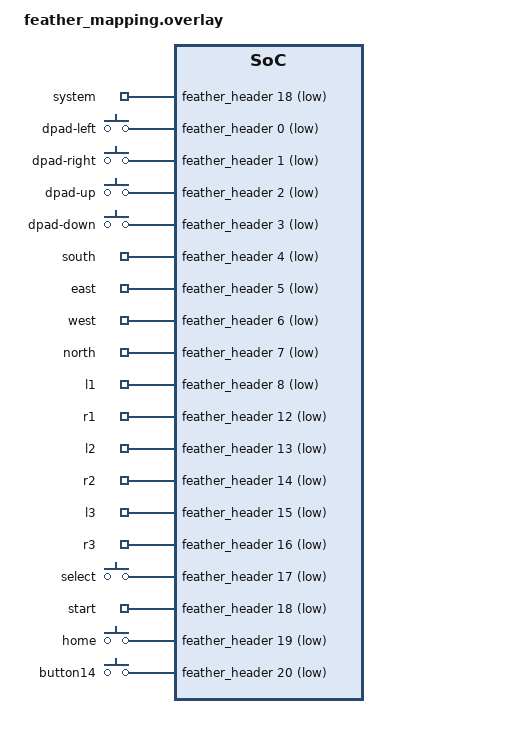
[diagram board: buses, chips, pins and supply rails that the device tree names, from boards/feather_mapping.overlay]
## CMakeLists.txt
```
cmake_minimum_required(VERSION 3.20.0)

find_package(Zephyr REQUIRED HINTS $ENV{ZEPHYR_BASE})
project(pgf)

target_sources(app PRIVATE
    src/battery.c
    src/main.c
)

if (CONFIG_PGF_BATTERY_LEVEL_REPORTING_VBATT)
    target_sources(app PRIVATE src/battery_vbatt.c)
elseif (CONFIG_PGF_BATTERY_LEVEL_REPORTING_PMIC)
    target_sources(app PRIVATE src/battery_pmic.c)
else()
    target_sources(app PRIVATE src/battery_null.c)
endif()

if (CONFIG_ADC)
    target_sources(app PRIVATE src/analog_axes.c)
endif()

if ("${CONFIG_BUILD_OUTPUT_UF2_FAMILY_ID}" STREQUAL "0xada52840")
    target_sources(app PRIVATE src/bootloader_nrf52840.c)
endif()

if (CONFIG_BT_HIDS)
    target_sources(app PRIVATE src/hids_ncs.c)
elseif (CONFIG_BT)
    target_sources(app PRIVATE src/hids_zephyr.c)
endif()

if (CONFIG_SOC_FAMILY_SILABS_S2)
    target_sources(app PRIVATE src/sleep_silabs.c)
elseif (CONFIG_SOC_FAMILY_ESPRESSIF_ESP32)
    target_sources(app PRIVATE src/sleep_esp32.c)
else()
    target_sources(app PRIVATE src/sleep_default.c)
endif()

if (CONFIG_SOC_SERIES_RP2040 OR CONFIG_SOC_SERIES_RP2350)
    target_sources(app PRIVATE src/bootloader_rp2040.c)
endif()

if ("${CONFIG_BUILD_OUTPUT_UF2_FAMILY_ID}" STREQUAL "0x68ed2b88")
    target_sources(app PRIVATE src/bootloader_samd21.c)
endif()
```

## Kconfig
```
source "Kconfig.zephyr"

menu "Portable Gamepad Firmware settings"

config PGF_INPUT_MODE_DEFAULT
    int "Default input mode"
    range 1 3
    default 1
    help
        1 = Stadia
        2 = Switch
        3 = PC

config PGF_INPUT_MODE_DYNAMIC
    bool "Enable input mode switching"
    default y

config PGF_DPAD_MODES
    bool "Enable dpad mode switching"
    default y
    help
        Lets the dpad be repurposed, at startup, to drive the left or
        right analog stick instead of its own dpad input - selected by
        holding down/left/right on power-up (same mechanism as input
        mode) and persisted the same way. Must be disabled on any board
        that already has a real analog stick axis configured via
        gamepad-axes - the build fails otherwise.

config PGF_MANUFACTURER_NAME
    string "Device manufacturer string"
    default "Arasaka"

config PGF_PRODUCT_NAME
    string "Device product name"
    default "PGF"

config PGF_GROUP_ADC_CHANNELS
    bool "Read all analog axes on the same ADC controller in one call"
    depends on ADC
    default n if ADC_SAM0
    default n if ADC_ESP32
    default y
    help
        Most ADC drivers can read several channels in one adc_read()
        call, whether through real hardware scan/sequencer support or a
        software loop the driver manages transparently. Some can't.
        Turn this off to make every analog axis use its own adc_read()
        call instead of grouping every axis on a shared controller into
        a single one.

choice PGF_BATTERY_LEVEL_REPORTING
    prompt "Battery level reporting"
    optional

config PGF_BATTERY_LEVEL_REPORTING_VBATT
    bool "Voltage divider + ADC"
    depends on ADC
    help
        Periodically samples battery voltage through a /vbatt
        voltage-divider devicetree node and reports it over the
        Bluetooth Battery Service (if enabled) and the log. The board
        must define a /vbatt node with status "okay" - the build will
        fail otherwise.

config PGF_BATTERY_LEVEL_REPORTING_PMIC
    bool "Nordic nPM13xx PMIC over I2C"
    depends on I2C
    depends on SENSOR
    help
        Periodically reads battery voltage from a Nordic nPM13xx PMIC
        over I2C and reports it over the Bluetooth Battery Service (if
        enabled) and the log. The board must define a
        "nordic,npm1300-charger" devicetree node labeled pmic_charger
        with status "okay" - the build will fail otherwise.

endchoice

endmenu
```

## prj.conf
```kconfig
CONFIG_FLASH=y
CONFIG_FLASH_PAGE_LAYOUT=y
CONFIG_FLASH_MAP=y
CONFIG_NVS=y
CONFIG_NVS_INIT_BAD_MEMORY_REGION=y
CONFIG_NVS_DATA_CRC=y
CONFIG_SETTINGS=y

CONFIG_SERIAL=n
CONFIG_UART_CONSOLE=n
CONFIG_LOG=n

CONFIG_GPIO=y
CONFIG_POWEROFF=y

CONFIG_HWINFO=y
CONFIG_SYS_HASH_FUNC32=y

CONFIG_PM_DEVICE=y
CONFIG_PM_DEVICE_RUNTIME=y
```

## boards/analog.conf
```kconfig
CONFIG_ADC=y
# Dpad modes repurpose the dpad as a fake analog stick, which doesn't make
# sense (and isn't allowed to build) on a board that already has real stick
# axes.
CONFIG_PGF_DPAD_MODES=n
```

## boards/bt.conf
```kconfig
CONFIG_BT=y
CONFIG_BT_L2CAP_TX_BUF_COUNT=5
CONFIG_BT_PERIPHERAL=y
CONFIG_BT_DEVICE_NAME_DYNAMIC=y
CONFIG_BT_DEVICE_APPEARANCE=964
CONFIG_BT_BAS=y
CONFIG_BT_HIDS=y
CONFIG_BT_GATT_UUID16_POOL_SIZE=40
CONFIG_BT_GATT_CHRC_POOL_SIZE=20
CONFIG_BT_CONN_CTX=y
CONFIG_BT_HIDS_DEFAULT_PERM_RW_ENCRYPT=y
CONFIG_BT_SMP=y
CONFIG_BT_SETTINGS=y
CONFIG_BT_PRIVACY=y
CONFIG_BT_FILTER_ACCEPT_LIST=y
CONFIG_BT_GAP_PERIPHERAL_PREF_PARAMS=n
CONFIG_BT_GAP_AUTO_UPDATE_CONN_PARAMS=n
CONFIG_BT_RADIO_NOTIFICATION_CONN_CB=y
CONFIG_BT_LE_EXTENDED_FEAT_SET=y
CONFIG_BT_SUBRATING=y
CONFIG_BT_FRAME_SPACE_UPDATE=y
CONFIG_BT_SHORTER_CONNECTION_INTERVALS=y
CONFIG_BT_USER_PHY_UPDATE=y
```

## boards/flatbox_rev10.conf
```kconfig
CONFIG_PGF_PRODUCT_NAME="Flatbox rev10"
```

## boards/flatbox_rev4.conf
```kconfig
CONFIG_PGF_PRODUCT_NAME="Flatbox rev4"
```

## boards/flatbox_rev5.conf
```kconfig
CONFIG_PGF_PRODUCT_NAME="Flatbox rev5"
```

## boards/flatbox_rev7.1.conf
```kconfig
CONFIG_PGF_PRODUCT_NAME="Flatbox r7.1"
CONFIG_SPI=y
CONFIG_GPIO_MCP23SXX=y
```

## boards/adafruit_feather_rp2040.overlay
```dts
#include "rp2040_storage_partition.dtsi"
```

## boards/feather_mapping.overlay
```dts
/ {
    gamepad-buttons {
        compatible = "gpio-keys";
        /* same as start */
        system { gpios = <&feather_header 18 (GPIO_PULL_UP | GPIO_ACTIVE_LOW)>; };
        /* Feather pin numbers start at A0 and go counter-clockwise around the board. */
        dpad-left { gpios = <&feather_header 0 (GPIO_PULL_UP | GPIO_ACTIVE_LOW)>; };
        dpad-right { gpios = <&feather_header 1 (GPIO_PULL_UP | GPIO_ACTIVE_LOW)>; };
        dpad-up { gpios = <&feather_header 2 (GPIO_PULL_UP | GPIO_ACTIVE_LOW)>; };
        dpad-down { gpios = <&feather_header 3 (GPIO_PULL_UP | GPIO_ACTIVE_LOW)>; };
        south { gpios = <&feather_header 4 (GPIO_PULL_UP | GPIO_ACTIVE_LOW)>; };
        east { gpios = <&feather_header 5 (GPIO_PULL_UP | GPIO_ACTIVE_LOW)>; };
        west { gpios = <&feather_header 6 (GPIO_PULL_UP | GPIO_ACTIVE_LOW)>; };
        north { gpios = <&feather_header 7 (GPIO_PULL_UP | GPIO_ACTIVE_LOW)>; };
        l1 { gpios = <&feather_header 8 (GPIO_PULL_UP | GPIO_ACTIVE_LOW)>; };
        /* skip RX, TX and the next pin */
        r1 { gpios = <&feather_header 12 (GPIO_PULL_UP | GPIO_ACTIVE_LOW)>; };
        l2 { gpios = <&feather_header 13 (GPIO_PULL_UP | GPIO_ACTIVE_LOW)>; };
        r2 { gpios = <&feather_header 14 (GPIO_PULL_UP | GPIO_ACTIVE_LOW)>; };
        l3 { gpios = <&feather_header 15 (GPIO_PULL_UP | GPIO_ACTIVE_LOW)>; };
        r3 { gpios = <&feather_header 16 (GPIO_PULL_UP | GPIO_ACTIVE_LOW)>; };
        select { gpios = <&feather_header 17 (GPIO_PULL_UP | GPIO_ACTIVE_LOW)>; };
        start { gpios = <&feather_header 18 (GPIO_PULL_UP | GPIO_ACTIVE_LOW)>; };
        home { gpios = <&feather_header 19 (GPIO_PULL_UP | GPIO_ACTIVE_LOW)>; };
        button14 { gpios = <&feather_header 20 (GPIO_PULL_UP | GPIO_ACTIVE_LOW)>; };
    };
};
```

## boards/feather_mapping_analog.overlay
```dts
/ {
    gamepad-buttons {
        compatible = "gpio-keys";
        /* same as start */
        system { gpios = <&feather_header 18 (GPIO_PULL_UP | GPIO_ACTIVE_LOW)>; };
        /* Feather pin numbers start at A0 and go counter-clockwise around the board. */
        /* A0-A3 are used for the analog sticks - see gamepad-axes below. */
        south { gpios = <&feather_header 4 (GPIO_PULL_UP | GPIO_ACTIVE_LOW)>; };
        east { gpios = <&feather_header 5 (GPIO_PULL_UP | GPIO_ACTIVE_LOW)>; };
        west { gpios = <&feather_header 6 (GPIO_PULL_UP | GPIO_ACTIVE_LOW)>; };
        north { gpios = <&feather_header 7 (GPIO_PULL_UP | GPIO_ACTIVE_LOW)>; };
        l1 { gpios = <&feather_header 8 (GPIO_PULL_UP | GPIO_ACTIVE_LOW)>; };
        /* skip RX, TX and the next pin */
        r1 { gpios = <&feather_header 12 (GPIO_PULL_UP | GPIO_ACTIVE_LOW)>; };
        l2 { gpios = <&feather_header 13 (GPIO_PULL_UP | GPIO_ACTIVE_LOW)>; };
        r2 { gpios = <&feather_header 14 (GPIO_PULL_UP | GPIO_ACTIVE_LOW)>; };
        l3 { gpios = <&feather_header 15 (GPIO_PULL_UP | GPIO_ACTIVE_LOW)>; };
        r3 { gpios = <&feather_header 16 (GPIO_PULL_UP | GPIO_ACTIVE_LOW)>; };
        select { gpios = <&feather_header 17 (GPIO_PULL_UP | GPIO_ACTIVE_LOW)>; };
        start { gpios = <&feather_header 18 (GPIO_PULL_UP | GPIO_ACTIVE_LOW)>; };
        home { gpios = <&feather_header 19 (GPIO_PULL_UP | GPIO_ACTIVE_LOW)>; };
        button14 { gpios = <&feather_header 20 (GPIO_PULL_UP | GPIO_ACTIVE_LOW)>; };
    };

    gamepad-axes {
        compatible = "gamepad-axes";
        io-channels = <&feather_adc 0>, <&feather_adc 1>, <&feather_adc 2>, <&feather_adc 3>;
        io-channel-names = "left-stick-x", "left-stick-y", "right-stick-x", "right-stick-y";

        // full range is 0-65535
        left-stick-x-center = <32768>;
        left-stick-y-center = <32768>;
        left-stick-inner-radius = <2048>;
        left-stick-outer-radius = <30720>;
        right-stick-x-center = <32768>;
        right-stick-y-center = <32768>;
        right-stick-inner-radius = <2048>;
        right-stick-outer-radius = <30720>;
        left-trigger-lower-end = <4096>;
        left-trigger-upper-end = <61440>;
        right-trigger-lower-end = <4096>;
        right-trigger-upper-end = <61440>;
    };
};
```

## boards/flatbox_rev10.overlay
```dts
/ {
    gamepad-buttons {
        compatible = "gpio-keys";
        /* same as start */
        system { gpios = <&gpiob 3 (GPIO_PULL_UP | GPIO_ACTIVE_LOW)>; };
        /* Flatbox rev10 */
        dpad-left { gpios = <&gpioa 2 (GPIO_PULL_UP | GPIO_ACTIVE_LOW)>; };
        dpad-right { gpios = <&gpioa 4 (GPIO_PULL_UP | GPIO_ACTIVE_LOW)>; };
        dpad-up { gpios = <&gpioa 5 (GPIO_PULL_UP | GPIO_ACTIVE_LOW)>; };
        dpad-down { gpios = <&gpioa 3 (GPIO_PULL_UP | GPIO_ACTIVE_LOW)>; };
        south { gpios = <&gpioa 7 (GPIO_PULL_UP | GPIO_ACTIVE_LOW)>; };
        east { gpios = <&gpiob 0 (GPIO_PULL_UP | GPIO_ACTIVE_LOW)>; };
        west { gpios = <&gpioa 6 (GPIO_PULL_UP | GPIO_ACTIVE_LOW)>; };
        north { gpios = <&gpiob 1 (GPIO_PULL_UP | GPIO_ACTIVE_LOW)>; };
        l1 { gpios = <&gpioc 6 (GPIO_PULL_UP | GPIO_ACTIVE_LOW)>; };
        r1 { gpios = <&gpioa 8 (GPIO_PULL_UP | GPIO_ACTIVE_LOW)>; };
        l2 { gpios = <&gpioa 9 (GPIO_PULL_UP | GPIO_ACTIVE_LOW)>; };
        r2 { gpios = <&gpiob 2 (GPIO_PULL_UP | GPIO_ACTIVE_LOW)>; };
        l3 { gpios = <&gpiob 7 (GPIO_PULL_UP | GPIO_ACTIVE_LOW)>; };
        r3 { gpios = <&gpiob 8 (GPIO_PULL_UP | GPIO_ACTIVE_LOW)>; };
        select { gpios = <&gpiob 4 (GPIO_PULL_UP | GPIO_ACTIVE_LOW)>; };
        start { gpios = <&gpiob 3 (GPIO_PULL_UP | GPIO_ACTIVE_LOW)>; };
        home { gpios = <&gpiob 5 (GPIO_PULL_UP | GPIO_ACTIVE_LOW)>; };
        button14 { gpios = <&gpiob 6 (GPIO_PULL_UP | GPIO_ACTIVE_LOW)>; };
    };
};
```

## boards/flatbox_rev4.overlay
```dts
#include "rp2040_xosc_startup_delay.dtsi"

/ {
    gamepad-buttons {
        compatible = "gpio-keys";
        /* same as start */
        system { gpios = <&gpio0 6 (GPIO_PULL_UP | GPIO_ACTIVE_LOW)>; };
        /* Flatbox rev4/rev8 */
        dpad-left { gpios = <&gpio0 9 (GPIO_PULL_UP | GPIO_ACTIVE_LOW)>; };
        dpad-right { gpios = <&gpio0 11 (GPIO_PULL_UP | GPIO_ACTIVE_LOW)>; };
        dpad-up { gpios = <&gpio0 16 (GPIO_PULL_UP | GPIO_ACTIVE_LOW)>; };
        dpad-down { gpios = <&gpio0 10 (GPIO_PULL_UP | GPIO_ACTIVE_LOW)>; };
        south { gpios = <&gpio0 19 (GPIO_PULL_UP | GPIO_ACTIVE_LOW)>; };
        east { gpios = <&gpio0 24 (GPIO_PULL_UP | GPIO_ACTIVE_LOW)>; };
        west { gpios = <&gpio0 18 (GPIO_PULL_UP | GPIO_ACTIVE_LOW)>; };
        north { gpios = <&gpio0 25 (GPIO_PULL_UP | GPIO_ACTIVE_LOW)>; };
        l1 { gpios = <&gpio0 29 (GPIO_PULL_UP | GPIO_ACTIVE_LOW)>; };
        r1 { gpios = <&gpio0 27 (GPIO_PULL_UP | GPIO_ACTIVE_LOW)>; };
        l2 { gpios = <&gpio0 28 (GPIO_PULL_UP | GPIO_ACTIVE_LOW)>; };
        r2 { gpios = <&gpio0 26 (GPIO_PULL_UP | GPIO_ACTIVE_LOW)>; };
        l3 { gpios = <&gpio0 2 (GPIO_PULL_UP | GPIO_ACTIVE_LOW)>; };
        r3 { gpios = <&gpio0 1 (GPIO_PULL_UP | GPIO_ACTIVE_LOW)>; };
        select { gpios = <&gpio0 5 (GPIO_PULL_UP | GPIO_ACTIVE_LOW)>; };
        start { gpios = <&gpio0 6 (GPIO_PULL_UP | GPIO_ACTIVE_LOW)>; };
        home { gpios = <&gpio0 4 (GPIO_PULL_UP | GPIO_ACTIVE_LOW)>; };
        button14 { gpios = <&gpio0 3 (GPIO_PULL_UP | GPIO_ACTIVE_LOW)>; };
    };
};
```

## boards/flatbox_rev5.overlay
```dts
#include "rp2040_xosc_startup_delay.dtsi"

/ {
    gamepad-buttons {
        compatible = "gpio-keys";
        /* same as start */
        system { gpios = <&gpio0 14 (GPIO_PULL_UP | GPIO_ACTIVE_LOW)>; };
        dpad-left { gpios = <&gpio0 13 (GPIO_PULL_UP | GPIO_ACTIVE_LOW)>; };
        dpad-right { gpios = <&gpio0 11 (GPIO_PULL_UP | GPIO_ACTIVE_LOW)>; };
        dpad-up { gpios = <&gpio0 10 (GPIO_PULL_UP | GPIO_ACTIVE_LOW)>; };
        dpad-down { gpios = <&gpio0 12 (GPIO_PULL_UP | GPIO_ACTIVE_LOW)>; };
        south { gpios = <&gpio0 9 (GPIO_PULL_UP | GPIO_ACTIVE_LOW)>; };
        east { gpios = <&gpio0 7 (GPIO_PULL_UP | GPIO_ACTIVE_LOW)>; };
        west { gpios = <&gpio0 8 (GPIO_PULL_UP | GPIO_ACTIVE_LOW)>; };
        north { gpios = <&gpio0 6 (GPIO_PULL_UP | GPIO_ACTIVE_LOW)>; };
        l1 { gpios = <&gpio0 2 (GPIO_PULL_UP | GPIO_ACTIVE_LOW)>; };
        r1 { gpios = <&gpio0 4 (GPIO_PULL_UP | GPIO_ACTIVE_LOW)>; };
        l2 { gpios = <&gpio0 3 (GPIO_PULL_UP | GPIO_ACTIVE_LOW)>; };
        r2 { gpios = <&gpio0 5 (GPIO_PULL_UP | GPIO_ACTIVE_LOW)>; };
        l3 { gpios = <&gpio0 28 (GPIO_PULL_UP | GPIO_ACTIVE_LOW)>; };
        r3 { gpios = <&gpio0 29 (GPIO_PULL_UP | GPIO_ACTIVE_LOW)>; };
        select { gpios = <&gpio0 15 (GPIO_PULL_UP | GPIO_ACTIVE_LOW)>; };
        start { gpios = <&gpio0 14 (GPIO_PULL_UP | GPIO_ACTIVE_LOW)>; };
        home { gpios = <&gpio0 26 (GPIO_PULL_UP | GPIO_ACTIVE_LOW)>; };
        button14 { gpios = <&gpio0 27 (GPIO_PULL_UP | GPIO_ACTIVE_LOW)>; };
    };
};
```

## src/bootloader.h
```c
#ifndef _BOOTLOADER_H_
#define _BOOTLOADER_H_

void reset_to_bootloader() __attribute__((weak));

#endif
```

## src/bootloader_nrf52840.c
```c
#include "bootloader.h"

#include <zephyr/device.h>
#include <zephyr/devicetree.h>
#include <zephyr/drivers/retained_mem.h>
#include <zephyr/logging/log.h>
#include <zephyr/sys/reboot.h>

LOG_MODULE_REGISTER(bootloader_nrf52840, LOG_LEVEL_DBG);

#define CHK(X) ({ int err = X; if (err != 0) { LOG_ERR("%s returned %d (%s:%d)", #X, err, __FILE__, __LINE__); } err == 0; })

static const struct device* gpregret_dev = DEVICE_DT_GET(DT_NODELABEL(gpregret1));

void reset_to_bootloader() {
    if (!device_is_ready(gpregret_dev)) {
        LOG_ERR("GPREGRET device not ready.");
        return;
    }

    // https://github.com/adafruit/Adafruit_nRF52_Bootloader/blob/master/src/main.c#L112
    uint8_t dfu_magic_uf2_reset = 0x57;

    // Save the magic value and reboot, the bootloader will see it and enter UF2 mode.
    if (CHK(retained_mem_write(gpregret_dev, 0, &dfu_magic_uf2_reset, 1))) {
        sys_reboot(SYS_REBOOT_WARM);
    }
}
```

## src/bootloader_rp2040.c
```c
#include "bootloader.h"

#include <pico/bootrom.h>

void reset_to_bootloader() {
    reset_usb_boot(0, 0);
}
```

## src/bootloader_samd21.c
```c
#include "bootloader.h"

#include <stdint.h>

#include <zephyr/sys/reboot.h>

#define BOOT_DOUBLE_TAP_ADDRESS 0x20007FFC
#define DBL_TAP_MAGIC 0xF01669EF

void reset_to_bootloader() {
    *((volatile uint32_t*) BOOT_DOUBLE_TAP_ADDRESS) = DBL_TAP_MAGIC;

    sys_reboot(SYS_REBOOT_COLD);
}
```

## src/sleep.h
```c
#ifndef _SLEEP_H_
#define _SLEEP_H_

#include <zephyr/drivers/gpio.h>

// Undoes any pin state enter_sleep() left behind on wake_button. Called on
// startup, before the buttons are configured.
void sleep_init(const struct gpio_dt_spec* wake_button);

// Configures wake_button for wake-on-interrupt and puts the system to sleep.
void enter_sleep(const struct gpio_dt_spec* wake_button);

#endif
```

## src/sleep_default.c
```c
// Copyright (c) 2026 Jacek Fedorynski
// SPDX-License-Identifier: MIT

#include <zephyr/drivers/gpio.h>
#include <zephyr/logging/log.h>
#include <zephyr/sys/poweroff.h>

#include "chk.h"
#include "sleep.h"

LOG_MODULE_DECLARE(pgf);

void sleep_init(const struct gpio_dt_spec* wake_button) {
}

void enter_sleep(const struct gpio_dt_spec* wake_button) {
    CHK(gpio_pin_interrupt_configure_dt(wake_button, GPIO_INT_LEVEL_ACTIVE));
#ifdef CONFIG_POWEROFF
    sys_poweroff();
#endif
}
```

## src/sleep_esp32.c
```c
// Copyright (c) 2026 Jacek Fedorynski
// SPDX-License-Identifier: MIT

#include <driver/rtc_io.h>
#include <soc/soc_caps.h>
#include <zephyr/drivers/gpio.h>
#include <zephyr/logging/log.h>
#include <zephyr/sys/poweroff.h>

#include "chk.h"
#include "sleep.h"

LOG_MODULE_DECLARE(pgf);

#if SOC_PM_SUPPORT_EXT1_WAKEUP
static gpio_num_t pad_number(const struct gpio_dt_spec* spec) {
#if DT_NODE_EXISTS(DT_NODELABEL(gpio1))
    if (spec->port == DEVICE_DT_GET(DT_NODELABEL(gpio1))) {
        return (gpio_num_t) (spec->pin + 32);
    }
#endif
    return (gpio_num_t) spec->pin;
}
#endif

void sleep_init(const struct gpio_dt_spec* wake_button) {
#if SOC_PM_SUPPORT_EXT1_WAKEUP
    gpio_num_t pad = pad_number(wake_button);
    if (rtc_gpio_is_valid_gpio(pad)) {
        // Undo what enter_sleep() did before the last deep sleep.
        rtc_gpio_hold_dis(pad);
        rtc_gpio_deinit(pad);
    }
#endif
}

void enter_sleep(const struct gpio_dt_spec* wake_button) {
    // Unlike on other platforms, no GPIO interrupt is configured here: the
    // deep sleep wakeup was already set up when the pin was configured with
    // GPIO_INT_WAKEUP. A level interrupt would also fire continuously once
    // the pad is routed to the LP IO block below.

#if SOC_PM_SUPPORT_EXT1_WAKEUP
    // The ESP-IDF sleep code only holds EXT1 wakeup pads when the RTC peripheral
    // power domain is off, but Zephyr's sys_poweroff() keeps it on. On the
    // ESP32-C6 the pad's pull-up doesn't survive deep sleep anyway and the pin
    // floats low, waking the chip right back up. So route the pad to the LP IO
    // block with its pull-up ourselves and hold that configuration.
    gpio_num_t pad = pad_number(wake_button);
    if (rtc_gpio_is_valid_gpio(pad)) {
        CHK(rtc_gpio_init(pad));
        CHK(rtc_gpio_set_direction(pad, RTC_GPIO_MODE_INPUT_ONLY));
        CHK(rtc_gpio_pulldown_dis(pad));
        CHK(rtc_gpio_pullup_en(pad));
        CHK(rtc_gpio_hold_en(pad));
    }
#endif

    sys_poweroff();
}
```

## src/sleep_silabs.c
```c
// Copyright (c) 2026 Jacek Fedorynski
// SPDX-License-Identifier: MIT

#include <em_emu.h>
#include <zephyr/drivers/gpio.h>
#include <zephyr/irq.h>
#include <zephyr/logging/log.h>

#include "chk.h"
#include "sleep.h"

LOG_MODULE_DECLARE(pgf);

void sleep_init(const struct gpio_dt_spec* wake_button) {
}

void enter_sleep(const struct gpio_dt_spec* wake_button) {
    // Silicon Labs' GPIO interrupt controller doesn't support level-triggered
    // interrupts (only edge), and it checks GPIO_INT_WAKEUP here.
    CHK(gpio_pin_interrupt_configure_dt(wake_button, GPIO_INT_EDGE_TO_ACTIVE | GPIO_INT_WAKEUP));

    // sys_poweroff() isn't implemented so enter EM4 directly instead
    (void) irq_lock();
    EMU_EnterEM4();
}
```

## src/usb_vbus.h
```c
#ifndef _USB_VBUS_H_
#define _USB_VBUS_H_

#include <stdbool.h>

// Some USB device controller drivers claim they can detect VBUS, but only
// report it when it changes, so if it's already present when the driver
// starts (on a USB-powered board, or after a soft reset) we never get
// USBD_MSG_VBUS_READY. On those platforms this reads the VBUS state from
// the hardware directly. Everywhere else it returns false and we rely on
// the driver's events.
bool vbus_present_unreported(void);

#endif
```

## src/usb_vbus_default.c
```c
// Copyright (c) 2026 Jacek Fedorynski
// SPDX-License-Identifier: MIT

#include "usb_vbus.h"

bool vbus_present_unreported(void) {
    return false;
}
```

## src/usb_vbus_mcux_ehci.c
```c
// Copyright (c) 2026 Jacek Fedorynski
// SPDX-License-Identifier: MIT

#include <fsl_device_registers.h>
#include <zephyr/devicetree.h>

#include "usb_vbus.h"

// udc_mcux_ehci only reports VBUS on the B-session valid change interrupt,
// so it's never reported if VBUS is already present when the controller is
// initialized (which is always the case on a USB-powered board like the
// Teensy).
bool vbus_present_unreported(void) {
    USBHS_Type* usb = (USBHS_Type*) DT_REG_ADDR(DT_NODELABEL(zephyr_udc0));
    return (usb->OTGSC & USBHS_OTGSC_BSV_MASK) != 0;
}
```

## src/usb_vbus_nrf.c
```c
// Copyright (c) 2026 Jacek Fedorynski
// SPDX-License-Identifier: MIT

#include <nrfx_power.h>

#include "usb_vbus.h"

// udc_nrf only reports VBUS on the POWER peripheral's USBDETECTED event,
// which doesn't fire after a soft reset (e.g. when the UF2 bootloader starts
// the application) with the cable already connected.
bool vbus_present_unreported(void) {
    return nrfx_power_usbstatus_get() != NRFX_POWER_USB_STATE_DISCONNECTED;
}
```
